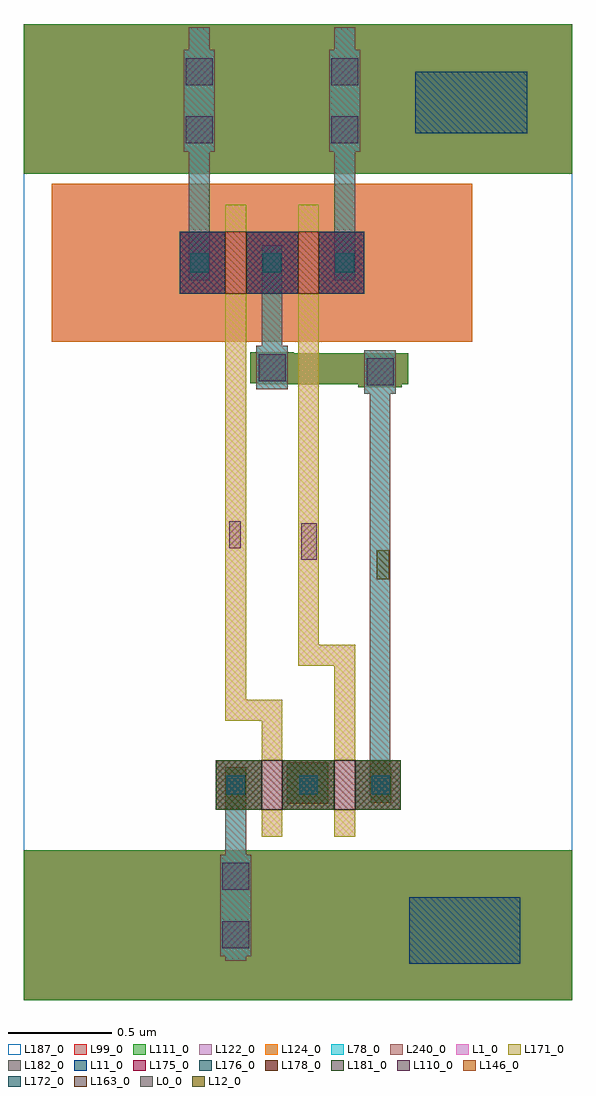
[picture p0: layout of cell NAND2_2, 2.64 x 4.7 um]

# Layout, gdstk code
import gdstk
lib = gdstk.Library(unit=1e-6, precision=1e-09)
def R(c, l, rs):  # rectangles x0, y0, x1, y1
    for r in rs: c.add(gdstk.rectangle(r[:2], r[2:], *l))
def A(c, l, x, y, w, h, nx, ny, dx, dy):  # array of equal rectangles
    R(c, l, [(x+i*dx, y+j*dy, x+i*dx+w, y+j*dy+h) for i in range(nx) for j in range(ny)])
def P(c, l, *ps):  # polygons
    for p in ps: c.add(gdstk.Polygon(p, *l))
L0_0 = (0, 0)
L1_0 = (1, 0)
L11_0 = (11, 0)
L12_0 = (12, 0)
L78_0 = (78, 0)
L99_0 = (99, 0)
L110_0 = (110, 0)
L111_0 = (111, 0)
L122_0 = (122, 0)
L124_0 = (124, 0)
L146_0 = (146, 0)
L163_0 = (163, 0)
L171_0 = (171, 0)
L172_0 = (172, 0)
L175_0 = (175, 0)
L176_0 = (176, 0)
L178_0 = (178, 0)
L181_0 = (181, 0)
L182_0 = (182, 0)
L187_0 = (187, 0)
L240_0 = (240, 0)

nand2_2 = lib.new_cell('NAND2_2')
R(nand2_2, L0_0, [(-3.9,5.845,-3.825,6.02), (-4.245,5.9,-4.19,6.03)])
P(nand2_2, L1_0, [(-3.815,7.555),(-3.815,5.435),(-3.64,5.435),(-3.64,4.51),(-3.74,4.51),(-3.74,5.335),(-3.915,5.335),(-3.915,7.555)],
  [(-4.165,7.555),(-4.165,5.17),(-3.99,5.17),(-3.99,4.51),(-4.09,4.51),(-4.09,5.07),(-4.265,5.07),(-4.265,7.555)])
R(nand2_2, L11_0, [(-3.38,3.9,-2.845,4.22), (-3.35,7.9,-2.81,8.195)])
R(nand2_2, L12_0, [(-3.535,5.75,-3.475,5.89)])
R(nand2_2, L78_0, [(-3.97,4.67,-3.77,4.87)])
P(nand2_2, L78_0, [(-4.165,4.845),(-4.165,4.425),(-4.14,4.425),(-4.14,3.935),(-4.165,3.935),(-4.165,3.915),(-4.265,3.915),(-4.265,3.935),(-4.29,3.935),(-4.29,4.425),(-4.265,4.425),(-4.265,4.845)],
  [(-3.64,8.41),(-3.64,8.3),(-3.615,8.3),(-3.615,7.81),(-3.64,7.81),(-3.64,7.19),(-3.74,7.19),(-3.74,7.81),(-3.765,7.81),(-3.765,8.3),(-3.74,8.3),(-3.74,8.41)],
  [(-4.34,8.41),(-4.34,8.3),(-4.315,8.3),(-4.315,7.81),(-4.34,7.81),(-4.34,7.19),(-4.44,7.19),(-4.44,7.81),(-4.465,7.81),(-4.465,8.3),(-4.44,8.3),(-4.44,8.41)],
  [(-3.99,7.36),(-3.99,6.875),(-3.965,6.875),(-3.965,6.665),(-4.115,6.665),(-4.115,6.875),(-4.09,6.875),(-4.09,7.36)],
  [(-3.445,6.855),(-3.445,6.645),(-3.47,6.645),(-3.47,4.845),(-3.465,4.845),(-3.465,4.675),(-3.565,4.675),(-3.565,4.705),(-3.57,4.705),(-3.57,6.645),(-3.595,6.645),(-3.595,6.855)])
R(nand2_2, L99_0, [(-5.235,3.725,-2.595,4.445), (-5.235,7.705,-2.595,8.425)])
P(nand2_2, L99_0, [(-3.935,6.845),(-3.935,6.84),(-3.385,6.84),(-3.385,6.69),(-3.415,6.69),(-3.415,6.675),(-3.625,6.675),(-3.625,6.69),(-4.105,6.69),(-4.105,6.695),(-4.145,6.695),(-4.145,6.845)])
R(nand2_2, L110_0, [(-4.28,3.975,-4.15,4.105), (-4.28,4.255,-4.15,4.385), (-3.585,6.685,-3.455,6.815), (-4.105,6.705,-3.975,6.835), (-4.455,7.85,-4.325,7.98), (-3.755,7.85,-3.625,7.98), (-4.455,8.13,-4.325,8.26), (-3.755,8.13,-3.625,8.26)])
R(nand2_2, L111_0, [(-5.235,3.725,-2.595,4.445), (-5.235,7.705,-2.595,8.425)])
P(nand2_2, L111_0, [(-3.935,6.845),(-3.935,6.84),(-3.385,6.84),(-3.385,6.69),(-3.415,6.69),(-3.415,6.675),(-3.625,6.675),(-3.625,6.69),(-4.105,6.69),(-4.105,6.695),(-4.145,6.695),(-4.145,6.845)])
R(nand2_2, L122_0, [(-5.1,6.895,-3.075,7.655)])
R(nand2_2, L124_0, [(-5.1,6.895,-3.075,7.655)])
R(nand2_2, L146_0, [(-4.265,7.125,-4.165,7.425), (-3.915,7.125,-3.815,7.425)])
R(nand2_2, L163_0, [(-4.09,4.64,-3.99,4.88), (-3.74,4.64,-3.64,4.88)])
R(nand2_2, L171_0, [(-4.09,4.51,-3.99,4.64), (-3.74,4.51,-3.64,4.64), (-4.265,7.425,-4.165,7.555), (-3.915,7.425,-3.815,7.555)])
P(nand2_2, L171_0, [(-4.165,7.125),(-4.165,5.17),(-3.99,5.17),(-3.99,4.88),(-4.09,4.88),(-4.09,5.07),(-4.265,5.07),(-4.265,7.125)],
  [(-3.815,7.125),(-3.815,5.435),(-3.64,5.435),(-3.64,4.88),(-3.74,4.88),(-3.74,5.335),(-3.915,5.335),(-3.915,7.125)])
A(nand2_2, L172_0, -4.26, 4.715, 0.09, 0.09, 3, 1, 0.35, 0)
A(nand2_2, L172_0, -4.435, 7.23, 0.09, 0.09, 3, 1, 0.35, 0)
R(nand2_2, L175_0, [(-4.485,7.125,-4.265,7.425), (-4.165,7.125,-3.915,7.425), (-3.815,7.125,-3.595,7.425)])
R(nand2_2, L176_0, [(-4.485,7.125,-4.265,7.425), (-4.165,7.125,-3.915,7.425), (-3.815,7.125,-3.595,7.425)])
R(nand2_2, L178_0, [(-4.31,4.64,-4.09,4.88), (-3.99,4.64,-3.74,4.88), (-3.64,4.64,-3.42,4.88)])
R(nand2_2, L181_0, [(-4.31,4.64,-4.09,4.88), (-3.99,4.64,-3.74,4.88), (-3.64,4.64,-3.42,4.88)])
R(nand2_2, L182_0, [(-4.31,4.64,-4.09,4.88), (-3.99,4.64,-3.74,4.88), (-3.64,4.64,-3.42,4.88), (-4.485,7.125,-4.265,7.425), (-4.165,7.125,-3.915,7.425), (-3.815,7.125,-3.595,7.425)])
R(nand2_2, L187_0, [(-5.235,3.725,-2.595,8.425)])
R(nand2_2, L240_0, [(-3.97,4.67,-3.77,4.87)])
P(nand2_2, L240_0, [(-4.165,4.845),(-4.165,4.425),(-4.14,4.425),(-4.14,3.935),(-4.165,3.935),(-4.165,3.915),(-4.265,3.915),(-4.265,3.935),(-4.29,3.935),(-4.29,4.425),(-4.265,4.425),(-4.265,4.845)],
  [(-3.64,8.41),(-3.64,8.3),(-3.615,8.3),(-3.615,7.81),(-3.64,7.81),(-3.64,7.19),(-3.74,7.19),(-3.74,7.81),(-3.765,7.81),(-3.765,8.3),(-3.74,8.3),(-3.74,8.41)],
  [(-4.34,8.41),(-4.34,8.3),(-4.315,8.3),(-4.315,7.81),(-4.34,7.81),(-4.34,7.19),(-4.44,7.19),(-4.44,7.81),(-4.465,7.81),(-4.465,8.3),(-4.44,8.3),(-4.44,8.41)],
  [(-3.99,7.36),(-3.99,6.875),(-3.965,6.875),(-3.965,6.665),(-4.115,6.665),(-4.115,6.875),(-4.09,6.875),(-4.09,7.36)],
  [(-3.445,6.855),(-3.445,6.645),(-3.47,6.645),(-3.47,4.845),(-3.465,4.845),(-3.465,4.675),(-3.565,4.675),(-3.565,4.705),(-3.57,4.705),(-3.57,6.645),(-3.595,6.645),(-3.595,6.855)])

lib.write_gds('NAND2_2.gds')
